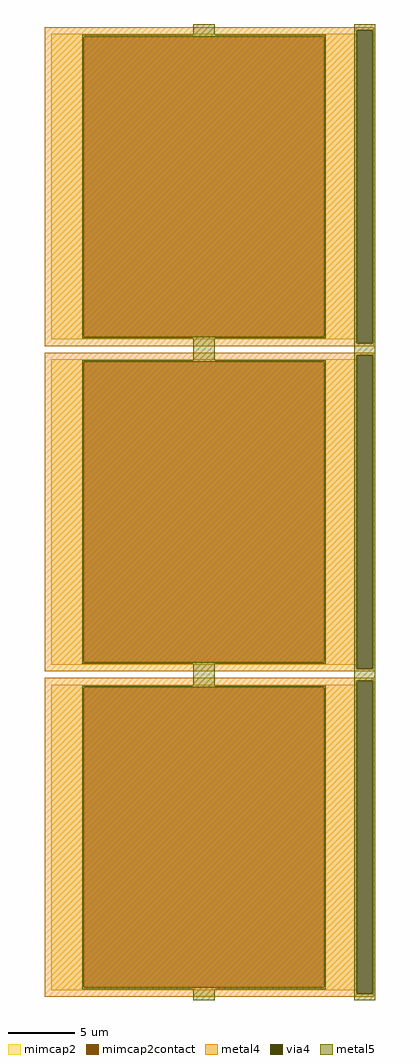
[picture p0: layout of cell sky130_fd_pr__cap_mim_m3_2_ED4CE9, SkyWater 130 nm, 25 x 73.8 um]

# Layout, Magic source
magic
tech sky130A
magscale 1 2
<< metal4 >>
rect -2489 7289 2489 7330
rect -2489 2551 2233 7289
rect 2469 2551 2489 7289
rect -2489 2510 2489 2551
rect -2489 2369 2489 2410
rect -2489 -2369 2233 2369
rect 2469 -2369 2489 2369
rect -2489 -2410 2489 -2369
rect -2489 -2551 2489 -2510
rect -2489 -7289 2233 -2551
rect 2469 -7289 2489 -2551
rect -2489 -7330 2489 -7289
<< via4 >>
rect 2233 2551 2469 7289
rect 2233 -2369 2469 2369
rect 2233 -7289 2469 -2551
<< mimcap2 >>
rect -2389 7190 2231 7230
rect -2389 2650 -1895 7190
rect 1737 2650 2231 7190
rect -2389 2610 2231 2650
rect -2389 2270 2231 2310
rect -2389 -2270 -1895 2270
rect 1737 -2270 2231 2270
rect -2389 -2310 2231 -2270
rect -2389 -2650 2231 -2610
rect -2389 -7190 -1895 -2650
rect 1737 -7190 2231 -2650
rect -2389 -7230 2231 -7190
<< mimcap2contact >>
rect -1895 2650 1737 7190
rect -1895 -2270 1737 2270
rect -1895 -7190 1737 -2650
<< metal5 >>
rect -239 7214 81 7380
rect 2191 7289 2511 7380
rect -1919 7190 1761 7214
rect -1919 2650 -1895 7190
rect 1737 2650 1761 7190
rect -1919 2626 1761 2650
rect -239 2294 81 2626
rect 2191 2551 2233 7289
rect 2469 2551 2511 7289
rect 2191 2369 2511 2551
rect -1919 2270 1761 2294
rect -1919 -2270 -1895 2270
rect 1737 -2270 1761 2270
rect -1919 -2294 1761 -2270
rect -239 -2626 81 -2294
rect 2191 -2369 2233 2369
rect 2469 -2369 2511 2369
rect 2191 -2551 2511 -2369
rect -1919 -2650 1761 -2626
rect -1919 -7190 -1895 -2650
rect 1737 -7190 1761 -2650
rect -1919 -7214 1761 -7190
rect -239 -7380 81 -7214
rect 2191 -7289 2233 -2551
rect 2469 -7289 2511 -2551
rect 2191 -7380 2511 -7289
<< properties >>
string gencell sky130_fd_pr__cap_mim_m3_2
string FIXED_BBOX -2489 2510 2331 7330
string parameters w 23.1 l 23.1 val 1.084k carea 2.00 cperi 0.19 nx 1 ny 3 dummy 0 square 0 lmin 2.00 wmin 2.00 lmax 30.0 wmax 30.0 dc 0 bconnect 1 tconnect 1 ccov 80
string library sky130
<< end >>
